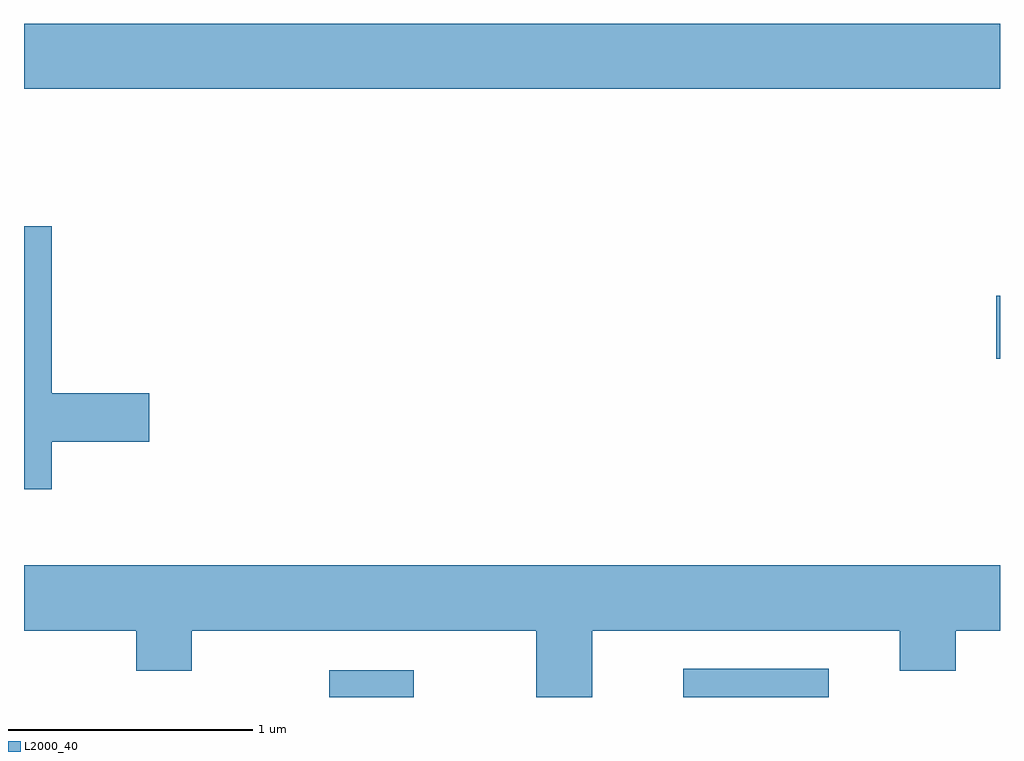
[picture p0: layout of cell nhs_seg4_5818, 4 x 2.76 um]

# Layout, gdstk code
import gdstk
lib = gdstk.Library(unit=1e-6, precision=1e-09)
def R(c, l, rs):  # rectangles x0, y0, x1, y1
    for r in rs: c.add(gdstk.rectangle(r[:2], r[2:], *l))
def P(c, l, *ps):  # polygons
    for p in ps: c.add(gdstk.Polygon(p, *l))
L2000_40 = (2000, 40)

nhs_seg4_5818 = lib.new_cell('nhs_seg4_5818')
R(nhs_seg4_5818, L2000_40, [(356.863,1329.982,357.209,1330.094), (358.313,1329.982,358.909,1330.099), (359.596,1331.371,359.611,1331.629), (355.611,1332.476,359.611,1332.744)])
P(nhs_seg4_5818, L2000_40, [(355.724,1331.031),(356.124,1331.031),(356.124,1331.229),(355.724,1331.229),(355.724,1331.914),(355.611,1331.914),(355.611,1330.836),(355.724,1330.836)],
  [(357.939,1330.256),(359.201,1330.256),(359.201,1330.091),(359.429,1330.091),(359.429,1330.256),(359.611,1330.256),(359.611,1330.524),(355.611,1330.524),(355.611,1330.256),(356.071,1330.256),(356.071,1330.091),(356.299,1330.091),(356.299,1330.256),(357.711,1330.256),(357.711,1329.982),(357.939,1329.982)])

lib.write_gds('nhs_seg4_5818.gds')
